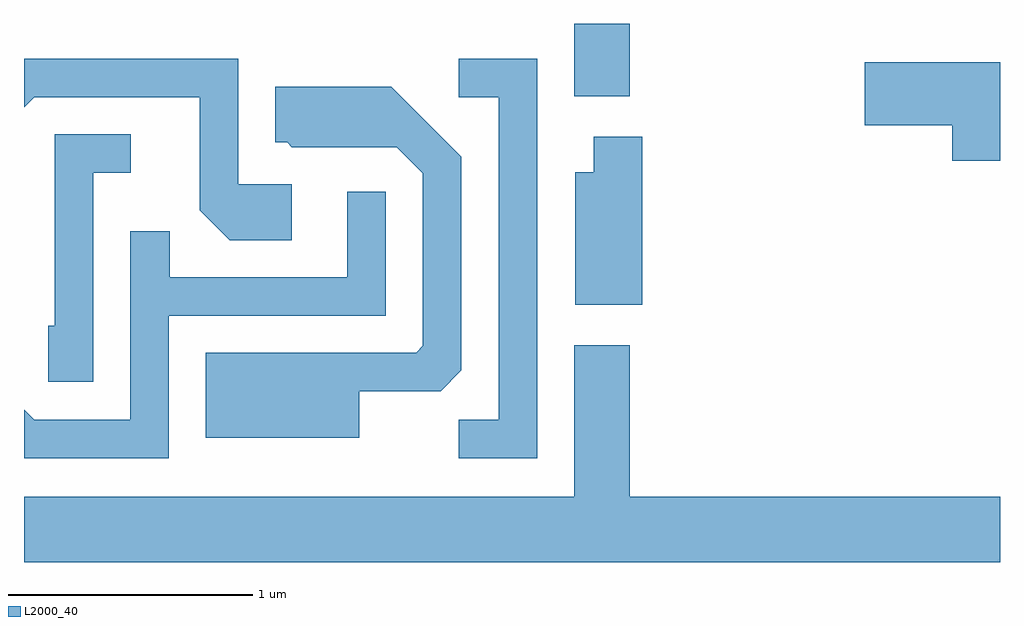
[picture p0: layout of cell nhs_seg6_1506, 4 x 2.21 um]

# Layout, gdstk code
import gdstk
lib = gdstk.Library(unit=1e-6, precision=1e-09)
def R(c, l, rs):  # rectangles x0, y0, x1, y1
    for r in rs: c.add(gdstk.rectangle(r[:2], r[2:], *l))
def P(c, l, *ps):  # polygons
    for p in ps: c.add(gdstk.Polygon(p, *l))
L2000_40 = (2000, 40)

nhs_seg6_1506 = lib.new_cell('nhs_seg6_1506')
R(nhs_seg6_1506, L2000_40, [(231.866,1631.866,232.094,1632.162)])
P(nhs_seg6_1506, L2000_40, [(231.714,1632.019),(231.393,1632.019),(231.393,1631.861),(231.556,1631.861),(231.556,1630.539),(231.393,1630.539),(231.393,1630.381),(231.714,1630.381)],
  [(230.709,1631.504),(230.489,1631.504),(230.489,1632.019),(229.611,1632.019),(229.611,1631.82),(229.652,1631.861),(230.331,1631.861),(230.331,1631.399),(230.454,1631.276),(230.709,1631.276)],
  [(233.611,1632.004),(233.056,1632.004),(233.056,1631.746),(233.416,1631.746),(233.416,1631.601),(233.611,1631.601)],
  [(230.984,1630.656),(231.319,1630.656),(231.404,1630.742),(231.404,1631.617),(231.117,1631.904),(230.641,1631.904),(230.641,1631.676),(230.689,1631.676),(230.709,1631.656),(231.139,1631.656),(231.246,1631.549),(231.246,1630.842),(231.219,1630.814),(230.356,1630.814),(230.356,1630.466),(230.984,1630.466)],
  [(229.894,1631.551),(230.048,1631.551),(230.048,1631.709),(229.736,1631.709),(229.736,1630.924),(229.711,1630.924),(229.711,1630.696),(229.894,1630.696)],
  [(232.144,1631.699),(231.946,1631.699),(231.946,1631.554),(231.871,1631.554),(231.871,1631.011),(232.144,1631.011)],
  [(230.204,1630.966),(231.094,1630.966),(231.094,1631.473),(230.936,1631.473),(230.936,1631.124),(230.209,1631.124),(230.209,1631.313),(230.046,1631.313),(230.046,1630.539),(229.652,1630.539),(229.611,1630.58),(229.611,1630.381),(230.204,1630.381)],
  [(231.866,1630.844),(231.866,1630.224),(229.611,1630.224),(229.611,1629.956),(233.611,1629.956),(233.611,1630.224),(232.094,1630.224),(232.094,1630.844)])

lib.write_gds('nhs_seg6_1506.gds')
